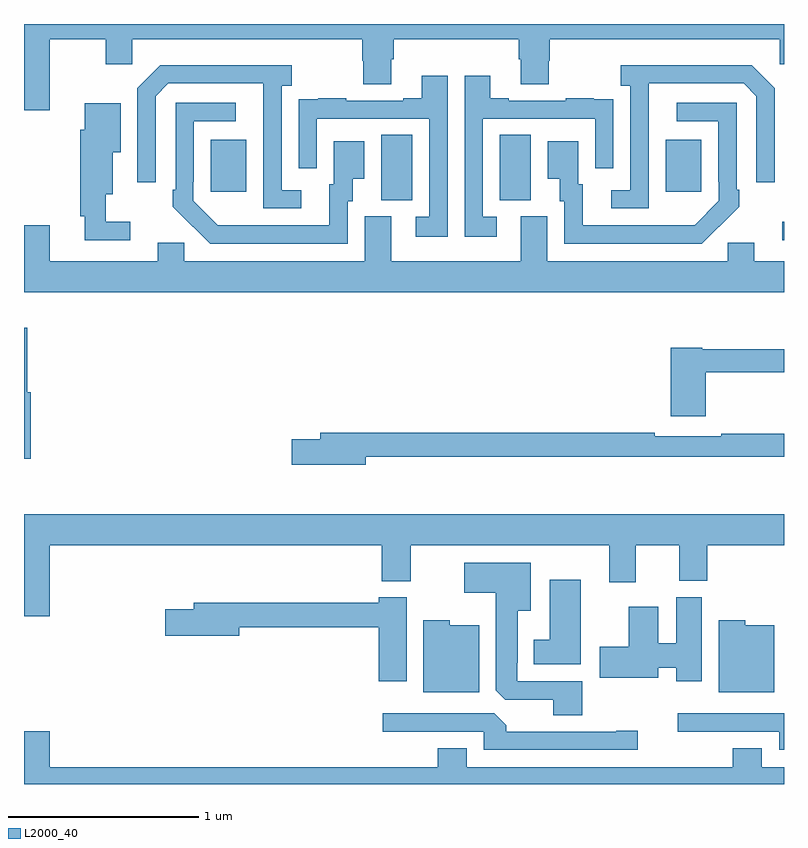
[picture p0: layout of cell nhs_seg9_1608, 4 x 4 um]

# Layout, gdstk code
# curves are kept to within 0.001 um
import gdstk
lib = gdstk.Library(unit=1e-6, precision=1e-09)
def R(c, l, rs):  # rectangles x0, y0, x1, y1
    for r in rs: c.add(gdstk.rectangle(r[:2], r[2:], *l))
def P(c, l, *ps):  # polygons
    for p in ps: c.add(gdstk.Polygon(p, *l))
L2000_40 = (2000, 40)

nhs_seg9_1608 = lib.new_cell('nhs_seg9_1608')
R(nhs_seg9_1608, L2000_40, [(204.99,1195.362,205,1195.458), (202.88,1195.573,203.044,1195.916), (203.504,1195.573,203.668,1195.916), (201.983,1195.617,202.171,1195.891), (204.377,1195.617,204.565,1195.891)])
P(nhs_seg9_1608, L2000_40, [(201.136,1196.42),(201.431,1196.42),(201.431,1196.289),(201.57,1196.289),(201.57,1196.42),(202.781,1196.42),(202.781,1196.307),(202.786,1196.307),(202.786,1196.182),(202.933,1196.182),(202.933,1196.314),(202.946,1196.314),(202.946,1196.42),(203.603,1196.42),(203.603,1196.314),(203.615,1196.314),(203.615,1196.182),(203.763,1196.182),(203.763,1196.307),(203.768,1196.307),(203.768,1196.42),(204.978,1196.42),(204.978,1196.289),(205,1196.289),(205,1196.5),(201,1196.5),(201,1196.046),(201.136,1196.046)],
  [(204.288,1195.987),(204.289,1196.187),(204.789,1196.187),(204.855,1196.121),(204.855,1195.668),(204.951,1195.668),(204.951,1196.163),(204.83,1196.284),(204.141,1196.284),(204.141,1196.174),(204.192,1196.174),(204.192,1195.626),(204.09,1195.626),(204.09,1195.53),(204.288,1195.53)],
  [(202.459,1195.626),(202.356,1195.626),(202.356,1196.174),(202.408,1196.174),(202.408,1196.284),(201.718,1196.284),(201.597,1196.163),(201.597,1195.668),(201.693,1195.668),(201.693,1196.121),(201.759,1196.187),(202.259,1196.187),(202.26,1195.53),(202.459,1195.53)],
  [(203.488,1195.485),(203.415,1195.485),(203.415,1196.001),(204.006,1196.001),(204.006,1195.74),(204.102,1195.74),(204.102,1195.994),(204.101,1195.994),(204.101,1196.103),(203.999,1196.103),(203.999,1196.11),(203.851,1196.11),(203.851,1196.097),(203.551,1196.097),(203.551,1196.11),(203.455,1196.11),(203.455,1196.227),(203.319,1196.227),(203.319,1195.38),(203.488,1195.38)],
  [(203.229,1196.227),(203.093,1196.227),(203.093,1196.11),(202.997,1196.11),(202.997,1196.097),(202.697,1196.097),(202.697,1196.11),(202.549,1196.11),(202.549,1196.103),(202.447,1196.103),(202.447,1195.994),(202.446,1195.994),(202.446,1195.74),(202.542,1195.74),(202.542,1196.001),(203.133,1196.001),(203.133,1195.485),(203.061,1195.485),(203.061,1195.38),(203.229,1195.38)],
  [(202.704,1195.566),(202.729,1195.566),(202.729,1195.685),(202.792,1195.685),(202.792,1195.882),(202.631,1195.882),(202.631,1195.656),(202.607,1195.656),(202.607,1195.44),(202.02,1195.441),(201.891,1195.569),(201.891,1195.669),(201.894,1195.669),(201.894,1195.989),(202.114,1195.989),(202.114,1196.085),(201.798,1196.085),(201.798,1195.627),(201.783,1195.627),(201.783,1195.539),(201.98,1195.344),(202.704,1195.344)],
  [(204.659,1195.435),(204.66,1195.434),(204.765,1195.539),(204.765,1195.627),(204.75,1195.627),(204.75,1196.085),(204.435,1196.085),(204.435,1195.989),(204.654,1195.989),(204.654,1195.669),(204.657,1195.669),(204.657,1195.569),(204.529,1195.441),(203.941,1195.44),(203.941,1195.656),(203.917,1195.656),(203.917,1195.882),(203.756,1195.882),(203.756,1195.685),(203.819,1195.685),(203.819,1195.566),(203.844,1195.566),(203.844,1195.344),(204.568,1195.344)],
  [(201.559,1195.459),(201.43,1195.459),(201.43,1195.604),(201.466,1195.604),(201.466,1195.826),(201.508,1195.826),(201.508,1196.083),(201.32,1196.083),(201.32,1195.944),(201.296,1195.944),(201.296,1195.487),(201.32,1195.487),(201.32,1195.362),(201.559,1195.362)],
  [(205,1195.252),(204.844,1195.252),(204.844,1195.35),(204.705,1195.35),(204.705,1195.252),(203.755,1195.252),(203.755,1195.488),(203.615,1195.488),(203.615,1195.252),(202.933,1195.252),(202.933,1195.488),(202.793,1195.488),(202.793,1195.252),(201.843,1195.252),(201.843,1195.35),(201.704,1195.35),(201.704,1195.252),(201.136,1195.252),(201.136,1195.441),(201,1195.441),(201,1195.088),(205,1195.088)],
  [(201.035,1194.561),(201.017,1194.561),(201.017,1194.901),(201,1194.901),(201,1194.213),(201.035,1194.213)],
  [(204.587,1194.666),(205,1194.666),(205,1194.787),(204.57,1194.787),(204.57,1194.795),(204.404,1194.795),(204.404,1194.435),(204.587,1194.435)],
  [(202.798,1194.222),(205,1194.222),(205,1194.343),(204.67,1194.343),(204.67,1194.33),(204.32,1194.33),(204.32,1194.35),(202.559,1194.35),(202.559,1194.314),(202.41,1194.314),(202.41,1194.179),(202.798,1194.179)],
  [(201.136,1193.756),(202.883,1193.756),(202.883,1193.567),(203.035,1193.567),(203.035,1193.756),(204.08,1193.756),(204.08,1193.562),(204.22,1193.562),(204.22,1193.756),(204.449,1193.756),(204.449,1193.569),(204.597,1193.569),(204.597,1193.756),(205,1193.756),(205,1193.92),(201,1193.92),(201,1193.382),(201.136,1193.382)],
  [(203.939,1193.04),(203.595,1193.04),(203.595,1193.137),(203.599,1193.137),(203.599,1193.411),(203.668,1193.411),(203.668,1193.665),(203.316,1193.665),(203.316,1193.507),(203.483,1193.507),(203.483,1192.993),(203.532,1192.944),(203.786,1192.944),(203.786,1192.861),(203.939,1192.861)],
  [(203.929,1193.575),(203.768,1193.575),(203.768,1193.26),(203.684,1193.26),(203.684,1193.129),(203.929,1193.129)],
  [(204.568,1193.484),(204.434,1193.484),(204.434,1193.241),(204.337,1193.241),(204.337,1193.434),(204.182,1193.434),(204.182,1193.223),(204.03,1193.223),(204.03,1193.06),(204.337,1193.06),(204.337,1193.111),(204.434,1193.111),(204.434,1193.04),(204.568,1193.04)],
  [(203.014,1193.482),(202.868,1193.482),(202.868,1193.455),(201.893,1193.455),(201.893,1193.421),(201.744,1193.421),(201.744,1193.279),(202.132,1193.279),(202.132,1193.326),(202.868,1193.326),(202.868,1193.04),(203.014,1193.04)],
  [(204.949,1193.335),(204.795,1193.335),(204.795,1193.362),(204.656,1193.362),(204.656,1192.982),(204.949,1192.982)],
  [(203.395,1193.335),(203.241,1193.335),(203.241,1193.362),(203.102,1193.362),(203.102,1192.982),(203.395,1192.982)],
  [(204.229,1192.781),(204.116,1192.781),(204.116,1192.776),(203.537,1192.776),(203.537,1192.81),(203.475,1192.872),(202.887,1192.872),(202.887,1192.776),(203.421,1192.776),(203.421,1192.68),(204.229,1192.68)],
  [(205,1192.872),(204.441,1192.872),(204.441,1192.776),(204.975,1192.776),(204.975,1192.68),(205,1192.68)],
  [(205,1192.588),(204.883,1192.588),(204.883,1192.687),(204.731,1192.687),(204.731,1192.588),(203.329,1192.588),(203.329,1192.687),(203.177,1192.687),(203.177,1192.588),(201.136,1192.588),(201.136,1192.777),(201,1192.777),(201,1192.5),(205,1192.5)])

lib.write_gds('nhs_seg9_1608.gds')
